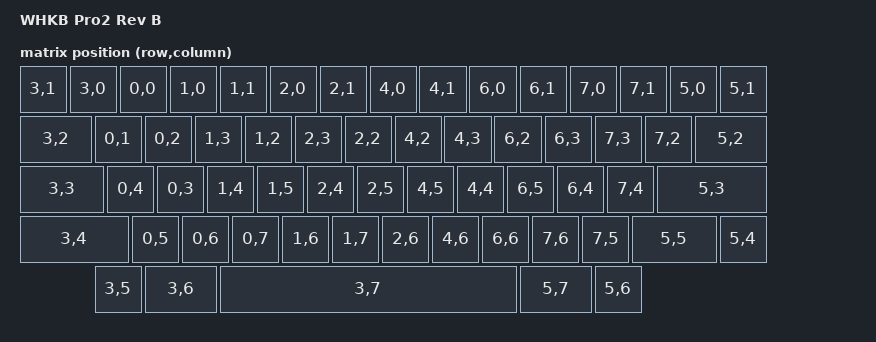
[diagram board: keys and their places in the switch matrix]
/*
 * Copyright (c) 2025 Stefan Sundin (4pplet)
 *
 * SPDX-License-Identifier: MIT
 */

/*
 * Pin assignments:
 * P0.28 - ADXL362 power control (GPIO-switched VDD for clean POR on warm reboot)
 *
 * Reserved for future implementation (present on PCB, not yet used by firmware):
 * P0.09 - BL_LED backlight LED control (NFC1, freed via CONFIG_NFCT_PINS_AS_GPIOS)
 * P0.31 - BQ24075 Power Good (PGOOD) input (active low when input power present)
 * P1.11 - MAX17048 Alert (active low, battery threshold alerts)
 *
 * P1.13 - Wake button (dedicated button to wake from sleep/soft-off)
 * P1.12 - Bootloader entry button (small PCB button, handled by bootloader - not used by firmware)
 */

#include <dt-bindings/zmk/matrix_transform.h>
#include <physical_layouts.dtsi>
#include "whkb_pro2_rev_b-pinctrl.dtsi"

/* Force Topre power off at boot to allow bootloader entry */
&gpio0 {
    topre_power_hog: topre-power-hog {
        gpio-hog;
        gpios = <29 GPIO_ACTIVE_HIGH>;
        output-low;
    };
};

/ {
    model = "WHKB Pro2 Rev B";
    compatible = "applet,whkb-pro2";

    chosen {
        zmk,kscan = &kscan0;
        zmk,physical-layout = &physical_layout;
        zmk,battery = &fuelgauge;
        zmk,studio-rpc-uart = &cdc_acm_uart;
    };

    kscan0: kscan_0 {
        compatible = "zmk,kscan-gpio-topre";
        /* Physical connector pinout (left to right, ANSI):
         * Pin 1,2: VCC_REG (3.3V from LDO)
         * Pin 3: P0.13 - KEY (~KEY, directly from comparator)
         * Pin 4: P0.20 - HYS (hysteresis control)
         * Pin 5: P0.17 - BIT0 (Row A)
         * Pin 6: P0.15 - BIT1 (Row B)
         * Pin 7: P0.07 - BIT2 (Row C)
         * Pin 8: P0.12 - BIT3 (Col A)
         * Pin 9: P0.04 - BIT4 (Col B)
         * Pin 10: P0.08 - BIT5 (Col C)
         * Pin 11: P0.06 - STROBE (~D enable)
         * Pin 12,13: GND
         *
         * P0.29 controls the LDO enable (DS8601-33S5) which powers the HHKB board
         */
        gpios = <&gpio0 29 GPIO_ACTIVE_HIGH>,              /* 0: POWER (LDO EN) */
                <&gpio0 13 (GPIO_ACTIVE_LOW|GPIO_PULL_UP)>, /* 1: KEY */
                <&gpio0 20 GPIO_ACTIVE_HIGH>,              /* 2: HYS */
                <&gpio0 17 GPIO_ACTIVE_HIGH>,              /* 3: BIT0 (Row A) */
                <&gpio0 15 GPIO_ACTIVE_HIGH>,              /* 4: BIT1 (Row B) */
                <&gpio0 7 GPIO_ACTIVE_HIGH>,               /* 5: BIT2 (Row C) */
                <&gpio0 12 GPIO_ACTIVE_HIGH>,              /* 6: BIT3 (Col A) */
                <&gpio0 4 GPIO_ACTIVE_HIGH>,               /* 7: BIT4 (Col B) */
                <&gpio0 8 GPIO_ACTIVE_HIGH>,               /* 8: BIT5 (Col C) */
                <&gpio0 6 GPIO_ACTIVE_HIGH>;               /* 9: STROBE */
        /* Timing parameters - using original whkb-zmk-config defaults.
         * Original driver used 6us/5us and worked on Rev A. */
        matrix-relax-us = <6>;
        adc-read-settle-us = <5>;
    };

    /* HHKB ANSI Layout - 60 keys */
    default_transform: keymap_transform_0 {
        compatible = "zmk,matrix-transform";
        columns = <8>;
        rows = <8>;
        map = <
        RC(3,1) RC(3,0) RC(0,0) RC(1,0) RC(1,1) RC(2,0) RC(2,1) RC(4,0) RC(4,1) RC(6,0) RC(6,1) RC(7,0) RC(7,1) RC(5,0) RC(5,1)
        RC(3,2) RC(0,1) RC(0,2) RC(1,3) RC(1,2) RC(2,3) RC(2,2) RC(4,2) RC(4,3) RC(6,2) RC(6,3) RC(7,3) RC(7,2) RC(5,2)
        RC(3,3) RC(0,4) RC(0,3) RC(1,4) RC(1,5) RC(2,4) RC(2,5) RC(4,5) RC(4,4) RC(6,5) RC(6,4) RC(7,4) RC(5,3)
        RC(3,4) RC(0,5) RC(0,6) RC(0,7) RC(1,6) RC(1,7) RC(2,6) RC(4,6) RC(6,6) RC(7,6) RC(7,5) RC(5,5) RC(5,4)
        RC(3,5) RC(3,6)                 RC(3,7)                 RC(5,7) RC(5,6)
        >;
    };

    physical_layout: physical_layout_0 {
        compatible = "zmk,physical-layout";
        display-name = "HHKB ANSI";
        transform = <&default_transform>;
        keys = <
            /* Row 0: 15 keys */
            &key_physical_attrs 100 100 0   0   0 0 0
            &key_physical_attrs 100 100 100 0   0 0 0
            &key_physical_attrs 100 100 200 0   0 0 0
            &key_physical_attrs 100 100 300 0   0 0 0
            &key_physical_attrs 100 100 400 0   0 0 0
            &key_physical_attrs 100 100 500 0   0 0 0
            &key_physical_attrs 100 100 600 0   0 0 0
            &key_physical_attrs 100 100 700 0   0 0 0
            &key_physical_attrs 100 100 800 0   0 0 0
            &key_physical_attrs 100 100 900 0   0 0 0
            &key_physical_attrs 100 100 1000 0  0 0 0
            &key_physical_attrs 100 100 1100 0  0 0 0
            &key_physical_attrs 100 100 1200 0  0 0 0
            &key_physical_attrs 100 100 1300 0  0 0 0
            &key_physical_attrs 100 100 1400 0  0 0 0
            /* Row 1: 14 keys */
            &key_physical_attrs 150 100 0   100 0 0 0
            &key_physical_attrs 100 100 150 100 0 0 0
            &key_physical_attrs 100 100 250 100 0 0 0
            &key_physical_attrs 100 100 350 100 0 0 0
            &key_physical_attrs 100 100 450 100 0 0 0
            &key_physical_attrs 100 100 550 100 0 0 0
            &key_physical_attrs 100 100 650 100 0 0 0
            &key_physical_attrs 100 100 750 100 0 0 0
            &key_physical_attrs 100 100 850 100 0 0 0
            &key_physical_attrs 100 100 950 100 0 0 0
            &key_physical_attrs 100 100 1050 100 0 0 0
            &key_physical_attrs 100 100 1150 100 0 0 0
            &key_physical_attrs 100 100 1250 100 0 0 0
            &key_physical_attrs 150 100 1350 100 0 0 0
            /* Row 2: 13 keys */
            &key_physical_attrs 175 100 0   200 0 0 0
            &key_physical_attrs 100 100 175 200 0 0 0
            &key_physical_attrs 100 100 275 200 0 0 0
            &key_physical_attrs 100 100 375 200 0 0 0
            &key_physical_attrs 100 100 475 200 0 0 0
            &key_physical_attrs 100 100 575 200 0 0 0
            &key_physical_attrs 100 100 675 200 0 0 0
            &key_physical_attrs 100 100 775 200 0 0 0
            &key_physical_attrs 100 100 875 200 0 0 0
            &key_physical_attrs 100 100 975 200 0 0 0
            &key_physical_attrs 100 100 1075 200 0 0 0
            &key_physical_attrs 100 100 1175 200 0 0 0
            &key_physical_attrs 225 100 1275 200 0 0 0
            /* Row 3: 13 keys (LShift 2.25u, 10x 1u, RShift 1.75u, Fn 1u) */
            &key_physical_attrs 225 100 0    300 0 0 0
            &key_physical_attrs 100 100 225  300 0 0 0
            &key_physical_attrs 100 100 325  300 0 0 0
            &key_physical_attrs 100 100 425  300 0 0 0
            &key_physical_attrs 100 100 525  300 0 0 0
            &key_physical_attrs 100 100 625  300 0 0 0
            &key_physical_attrs 100 100 725  300 0 0 0
            &key_physical_attrs 100 100 825  300 0 0 0
            &key_physical_attrs 100 100 925  300 0 0 0
            &key_physical_attrs 100 100 1025 300 0 0 0
            &key_physical_attrs 100 100 1125 300 0 0 0
            &key_physical_attrs 175 100 1225 300 0 0 0
            &key_physical_attrs 100 100 1400 300 0 0 0
            /* Row 4: 5 keys (bottom row: 1u LAlt, 1.5u LGui, 6u Space, 1.5u RGui, 1u RAlt) */
            &key_physical_attrs 100 100 150  400 0 0 0
            &key_physical_attrs 150 100 250  400 0 0 0
            &key_physical_attrs 600 100 400  400 0 0 0
            &key_physical_attrs 150 100 1000 400 0 0 0
            &key_physical_attrs 100 100 1150 400 0 0 0
        >;
    };

    buzzer: pwm_buzzer {
        compatible = "pwm-buzzer";
        pwms = <&pwm0 0 1000 PWM_POLARITY_NORMAL>;
        status = "disabled";  /* Verified working - disable for now */
    };

    leds {
        compatible = "gpio-leds";
        led_0: led_1 {
            gpios = <&gpio1 4 GPIO_ACTIVE_HIGH>;  /* P1.04 */
            status = "okay";
        };
        led_1: led_2 {
            gpios = <&gpio0 10 GPIO_ACTIVE_HIGH>; /* P0.10 */
            status = "okay";
        };
        led_2: led_3 {
            gpios = <&gpio1 6 GPIO_ACTIVE_HIGH>;  /* P1.06 */
            status = "okay";
        };
        /* TODO: BL_LED backlight on P0.09 (gpio0 9, NFC1) - add node + driver to implement */
    };

    /*
     * BQ24075 charger status - CHG (P0.30) active low when charging.
     * TODO: PGOOD on P0.31 (gpio0 31, active low when input power present) is also
     * available - add an input + handling to implement.
     */
    charger_status {
        compatible = "gpio-keys";
        chg_pin: chg_pin {
            gpios = <&gpio0 30 (GPIO_ACTIVE_LOW | GPIO_PULL_UP)>; /* P0.30 CHG */
            status = "okay";
        };
    };

    /*
     * Wake button (P1.13) - dedicated button to wake from sleep/soft-off.
     * Bootloader entry is a separate PCB button on P1.12, handled by the
     * bootloader, so it is not defined here.
     */
    gpio_keys {
        compatible = "gpio-keys";
        wake_button: wake_button {
            gpios = <&gpio1 13 (GPIO_ACTIVE_LOW | GPIO_PULL_UP)>;  /* P1.13 */
        };
    };

    /*
     * Wake trigger - enables the wake button to wake from soft-off/deep sleep
     */
    wakeup_button_trigger: wakeup_button_trigger {
        compatible = "zmk,gpio-key-wakeup-trigger";
        trigger = <&wake_button>;
        wakeup-source;
    };

    aliases {
        led1 = &led_0;
        led2 = &led_1;
        led3 = &led_2;
        buzzer = &buzzer;
        chg-status = &chg_pin;
        wake-button = &wake_button;
    };
};

&pwm0 {
    status = "okay";
    pinctrl-0 = <&pwm0_default>;
    pinctrl-1 = <&pwm0_sleep>;
    pinctrl-names = "default", "sleep";
};

/* USB CDC ACM for ZMK Studio */
&usbd {
    cdc_acm_uart: cdc_acm_uart {
        compatible = "zephyr,cdc-acm-uart";
    };
};

/*
 * ADXL362 accelerometer for wakeup from sleep
 * Uses ec-support-zmk-module from petejohanson
 */
&spi1 {
    status = "okay";
    compatible = "nordic,nrf-spim";
    pinctrl-0 = <&spi1_default>;
    pinctrl-1 = <&spi1_sleep>;
    pinctrl-names = "default", "sleep";
    cs-gpios = <&gpio0 3 GPIO_ACTIVE_LOW>; /* P0.03 CS */

    wakeup_trigger: wakeup_trigger@0 {
        compatible = "zmk,adxl362-awake-trigger";
        status = "okay";
        reg = <0>;
        spi-max-frequency = <8000000>;
        int1-gpios = <&gpio1 10 GPIO_ACTIVE_HIGH>; /* P1.10 AWAKE */
        int2-gpios = <&gpio1 10 GPIO_ACTIVE_HIGH>; /* Same pin - workaround for module macro */
        wakeup-source;
        linked-devices = <&kscan0>;

        /*
         * Accelerometer sensitivity settings - adjust these to tune wake behavior.
         * Threshold values are in milli-g (1000 = 1g). Higher = less sensitive.
         * Time values are in sample periods at 12.5Hz (1 = 80ms).
         */
        normal {
            activity-threshold = <18>;    /* Detect light movement */
            activity-time = <0>;
            inactivity-threshold = <60>;
            inactivity-time = <100>;
        };
        sleep {
            activity-threshold = <47>;    /* Wake threshold: 50=sensitive, 75=default, 150=tap, 250=firm shake */
            activity-time = <1>;          /* Require 80ms sustained movement */
            inactivity-threshold = <500>;
            inactivity-time = <0>;
        };
    };
};

/* I2C for MAX17048 fuel gauge */
&i2c0 {
    status = "okay";
    compatible = "nordic,nrf-twim";
    pinctrl-0 = <&i2c0_default>;
    pinctrl-1 = <&i2c0_sleep>;
    pinctrl-names = "default", "sleep";
    clock-frequency = <100000>;

    fuelgauge: max17048@36 {
        compatible = "zmk,maxim-max17048";
        reg = <0x36>;
        /* TODO: ALERT on P1.11 (gpio1 11, active low) - not used by driver yet */
    };
};
